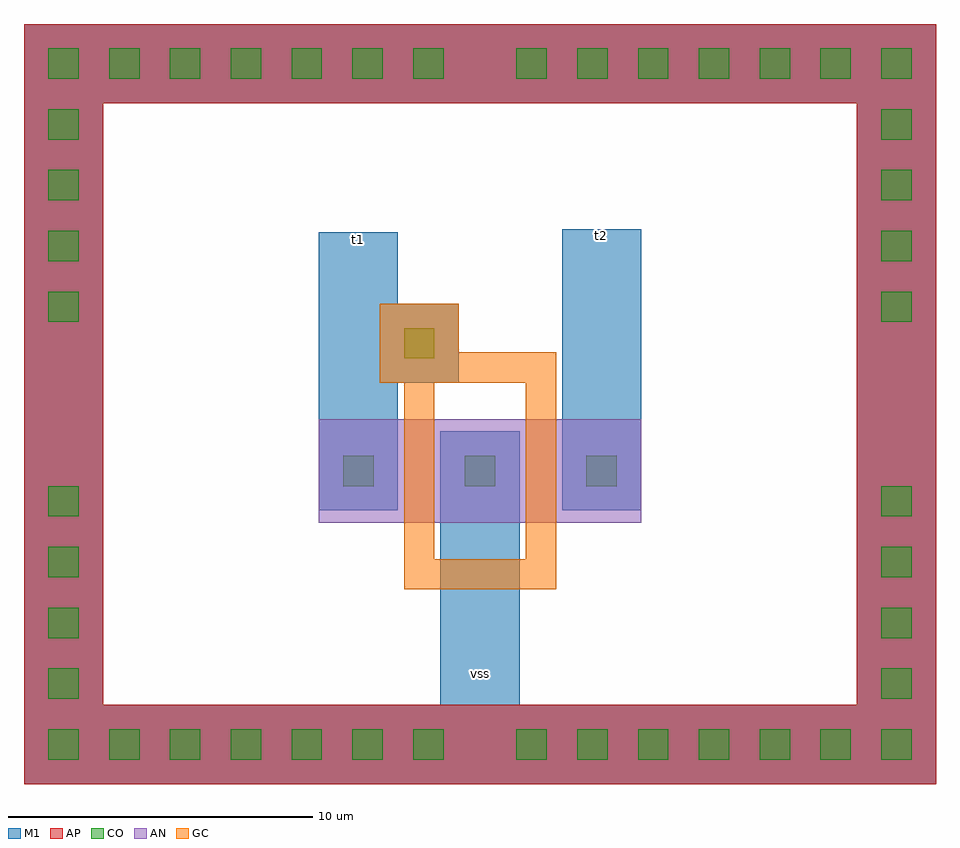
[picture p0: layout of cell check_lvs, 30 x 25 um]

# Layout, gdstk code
import gdstk
lib = gdstk.Library(unit=1e-6, precision=1e-08)
def R(c, l, rs):  # rectangles x0, y0, x1, y1
    for r in rs: c.add(gdstk.rectangle(r[:2], r[2:], *l))
def A(c, l, x, y, w, h, nx, ny, dx, dy):  # array of equal rectangles
    R(c, l, [(x+i*dx, y+j*dy, x+i*dx+w, y+j*dy+h) for i in range(nx) for j in range(ny)])
def P(c, l, *ps):  # polygons
    for p in ps: c.add(gdstk.Polygon(p, *l))
AP = (3, 1)
AN = (3, 2)
GC = (8, 1)
CO = (11, 0)
M1 = (13, 0)

fet_n = lib.new_cell('fet_n')
R(fet_n, AN, [(-3.3,-1.7,3.3,1.7)])
R(fet_n, CO, [(-2.5,-0.5,-1.5,0.5), (1.5,-0.5,2.5,0.5)])
R(fet_n, M1, [(-3.3,-1.3,-0.7,1.3), (0.7,-1.3,3.3,1.3)])
fet_n.add(gdstk.FlexPath([(0,-2.9),(0,2.9)], 1, ends="flush", simple_path=True, layer=8, datatype=1))  # GC

cont_g = lib.new_cell('cont_g')
R(cont_g, GC, [(-1.3,-1.3,1.3,1.3)])
R(cont_g, CO, [(-0.5,-0.5,0.5,0.5)])
R(cont_g, M1, [(-1.3,-1.3,1.3,1.3)])

cont_p = lib.new_cell('cont_p')
P(cont_p, AP, [(-15,-12.5),(-15,9.9),(-12.4,9.9),(-12.4,-9.9),(12.4,-9.9),(12.4,9.9),(-15,9.9),(-15,12.5),(15,12.5),(15,-12.5)])
A(cont_p, CO, -14.2, -11.7, 1, 1, 1, 5, 0, 2)
A(cont_p, CO, -14.2, -11.7, 1, 1, 7, 2, 2, 22.4)
A(cont_p, CO, 1.2, -11.7, 1, 1, 7, 2, 2, 22.4)
A(cont_p, CO, 13.2, -11.7, 1, 1, 1, 5, 0, 2)
A(cont_p, CO, -14.2, 2.7, 1, 1, 1, 5, 0, 2)
A(cont_p, CO, 13.2, 2.7, 1, 1, 1, 5, 0, 2)
P(cont_p, M1, [(-15,-12.5),(-15,9.9),(-12.4,9.9),(-12.4,-9.9),(12.4,-9.9),(12.4,9.9),(-15,9.9),(-15,12.5),(15,12.5),(15,-12.5)])

check_lvs = lib.new_cell('check_lvs')
check_lvs.add(gdstk.FlexPath([(-2.55,1.35),(-2.55,7.9)], 2.6, ends="flush", simple_path=True, layer=13, datatype=0))  # M1
check_lvs.add(gdstk.FlexPath([(5.45,1.35),(5.45,8)], 2.6, ends="flush", simple_path=True, layer=13, datatype=0))  # M1
check_lvs.add(gdstk.FlexPath([(1.45,-1.25),(1.45,-7.65)], 2.6, ends="flush", simple_path=True, layer=13, datatype=0))  # M1
check_lvs.add(gdstk.FlexPath([(-1.05,-3.35),(3.95,-3.35)], 1, ends="flush", simple_path=True, layer=8, datatype=1))  # GC
check_lvs.add(gdstk.FlexPath([(0.75,3.45),(3.95,3.45)], 1, ends="flush", simple_path=True, layer=8, datatype=1))  # GC
check_lvs.add(gdstk.Reference(fet_n, (-0.55,0.05)))
check_lvs.add(gdstk.Reference(fet_n, (3.45,0.05)))
check_lvs.add(gdstk.Reference(cont_g, (-0.55,4.25)))
check_lvs.add(gdstk.Reference(cont_p, (1.45,2.25)))
check_lvs.add(gdstk.Label('t1', (-2.55,7.65), layer=48, texttype=0))
check_lvs.add(gdstk.Label('t2', (5.45,7.8), layer=48, texttype=0))
check_lvs.add(gdstk.Label('vss', (1.45,-6.6), layer=48, texttype=0))

lib.write_gds('check_lvs.gds')
